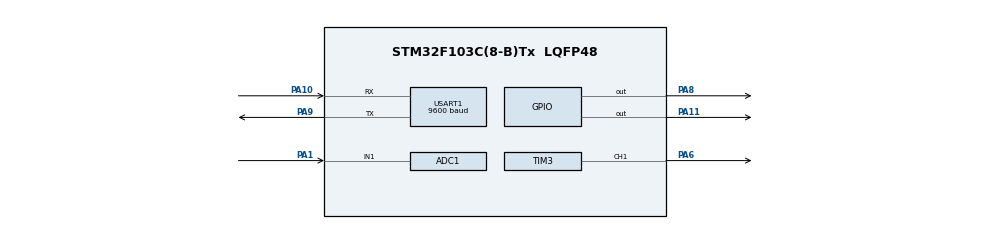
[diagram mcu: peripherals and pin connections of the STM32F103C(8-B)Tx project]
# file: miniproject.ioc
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ADC1.Channel-1\#ChannelRegularConversion=ADC_CHANNEL_1
ADC1.ContinuousConvMode=DISABLE
ADC1.NbrOfConversionFlag=1
ADC1.Rank-1\#ChannelRegularConversion=1
ADC1.SamplingTime-1\#ChannelRegularConversion=ADC_SAMPLETIME_239CYCLES_5
ADC1.master=1
Mcu.Family=STM32F1
Mcu.Name=STM32F103C(8-B)Tx
Mcu.Package=LQFP48
NVIC.ADC1_2_IRQn=true\:1\:0\:true\:false\:true\:true\:true\:true
NVIC.PriorityGroup=NVIC_PRIORITYGROUP_4
NVIC.TIM2_IRQn=true\:0\:0\:false\:false\:true\:true\:true\:true
NVIC.USART1_IRQn=true\:0\:0\:false\:false\:true\:true\:true\:true
PA1.Signal=ADCx_IN1
PA10.Mode=Asynchronous
PA10.Signal=USART1_RX
PA11.Signal=GPIO_Output
PA13.Mode=Serial_Wire
PA13.Signal=SYS_JTMS-SWDIO
PA14.Mode=Serial_Wire
PA14.Signal=SYS_JTCK-SWCLK
PA6.Signal=S_TIM3_CH1
PA8.Signal=GPIO_Output
PA9.Mode=Asynchronous
PA9.Signal=USART1_TX
PD0-OSC_IN.Mode=HSE-External-Oscillator
PD0-OSC_IN.Signal=RCC_OSC_IN
PD1-OSC_OUT.Mode=HSE-External-Oscillator
PD1-OSC_OUT.Signal=RCC_OSC_OUT
ProjectManager.HeapSize=0x200
ProjectManager.StackSize=0x400
ProjectManager.TargetToolchain=STM32CubeIDE
RCC.APB1Freq_Value=8000000
RCC.APB2Freq_Value=8000000
SH.ADCx_IN1.0=ADC1_IN1,IN1
SH.S_TIM3_CH1.0=TIM3_CH1,PWM Generation1 CH1
TIM2.Period=10000-1
TIM2.Prescaler=8-1
TIM3.Channel-PWM\ Generation1\ CH1=TIM_CHANNEL_1
TIM3.Period=10000-1
TIM3.Prescaler=8-1
TIM3.Pulse-PWM\ Generation1\ CH1=5000
USART1.BaudRate=9600
USART1.VirtualMode=VM_ASYNC
VP_TIM2_VS_ClockSourceINT.Mode=Internal
board=custom

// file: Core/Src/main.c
/* USER CODE BEGIN Header */
/**
  ******************************************************************************
  * @file           : main.c
  * @brief          : Main program body
  ******************************************************************************
  * @attention
  *
  * Copyright (c) 2025 STMicroelectronics.
  * All rights reserved.
  *
  * This software is licensed under terms that can be found in the LICENSE file
  * in the root directory of this software component.
  * If no LICENSE file comes with this software, it is provided AS-IS.
  *
  ******************************************************************************
  */
/* USER CODE END Header */
#include "main.h"

/* USER CODE BEGIN Includes */
#include "stdio.h"
#include "string.h"
#include "math.h"
/* USER CODE END Includes */

ADC_HandleTypeDef hadc1;

TIM_HandleTypeDef htim2;
TIM_HandleTypeDef htim3;

UART_HandleTypeDef huart1;

/* USER CODE BEGIN PV */
volatile int current_adc =0;
volatile int last_adc =0;
volatile int different_adc =0;
char adc_buffer[128];

uint8_t dir =0;
//uint16_t pul =0;
uint8_t ena =0 ;
volatile int32_t step_count =0;

/* USER CODE END PV */

void SystemClock_Config(void);
static void MX_GPIO_Init(void);
static void MX_ADC1_Init(void);
static void MX_USART1_UART_Init(void);
static void MX_TIM2_Init(void);
static void MX_TIM3_Init(void);

int main(void)
{

  /* MCU Configuration--------------------------------------------------------*/

  /* Reset of all peripherals, Initializes the Flash interface and the Systick. */
  HAL_Init();

  /* Configure the system clock */
  SystemClock_Config();

  /* Initialize all configured peripherals */
  MX_GPIO_Init();
  MX_ADC1_Init();
  MX_USART1_UART_Init();
  MX_TIM2_Init();
  MX_TIM3_Init();
  /* USER CODE BEGIN 2 */

  HAL_ADC_Start(&hadc1);
  if (HAL_ADC_PollForConversion(&hadc1, 100) == HAL_OK) {
      last_adc = HAL_ADC_GetValue(&hadc1);
  }
  HAL_ADC_Stop(&hadc1);

  HAL_ADC_Start_IT(&hadc1);

  /* USER CODE END 2 */

  /* Infinite loop */
  while (1)
  {

    /* USER CODE BEGIN 3 */

//	  if(step_count != 0){
//		  if(step_count > 0){
//			  HAL_GPIO_WritePin(GPIOA, GPIO_PIN_8, GPIO_PIN_SET);
//			  move_onestep();
//			  step_count--;
//		  }
//		  else{
//			  HAL_GPIO_WritePin(GPIOA, GPIO_PIN_8, GPIO_PIN_RESET);
//			  move_onestep();
//			  step_count++;
//		  }
//		  HAL_ADC_Start_IT(&hadc1);
//
//	  }

//	     sprintf(adc_buffer, "ADC Value: %d | Steps to go: %ld\r\n", current_adc, step_count);
//	     HAL_UART_Transmit(&huart1, (uint16_t*)adc_buffer, strlen(adc_buffer), 10000); // Dùng timeout ngắn
	     //HAL_Delay(100); // Delay để không spam UART

  }
  /* USER CODE END 3 */
}

void SystemClock_Config(void)
{
  RCC_OscInitTypeDef RCC_OscInitStruct = {0};
  RCC_ClkInitTypeDef RCC_ClkInitStruct = {0};
  RCC_PeriphCLKInitTypeDef PeriphClkInit = {0};

  /** Initializes the RCC Oscillators according to the specified parameters
  * in the RCC_OscInitTypeDef structure.
  */
  RCC_OscInitStruct.OscillatorType = RCC_OSCILLATORTYPE_HSI;
  RCC_OscInitStruct.HSIState = RCC_HSI_ON;
  RCC_OscInitStruct.HSICalibrationValue = RCC_HSICALIBRATION_DEFAULT;
  RCC_OscInitStruct.PLL.PLLState = RCC_PLL_NONE;
  if (HAL_RCC_OscConfig(&RCC_OscInitStruct) != HAL_OK)
  {
    Error_Handler();
  }

  /** Initializes the CPU, AHB and APB buses clocks
  */
  RCC_ClkInitStruct.ClockType = RCC_CLOCKTYPE_HCLK|RCC_CLOCKTYPE_SYSCLK
                              |RCC_CLOCKTYPE_PCLK1|RCC_CLOCKTYPE_PCLK2;
  RCC_ClkInitStruct.SYSCLKSource = RCC_SYSCLKSOURCE_HSI;
  RCC_ClkInitStruct.AHBCLKDivider = RCC_SYSCLK_DIV1;
  RCC_ClkInitStruct.APB1CLKDivider = RCC_HCLK_DIV1;
  RCC_ClkInitStruct.APB2CLKDivider = RCC_HCLK_DIV1;

  if (HAL_RCC_ClockConfig(&RCC_ClkInitStruct, FLASH_LATENCY_0) != HAL_OK)
  {
    Error_Handler();
  }
  PeriphClkInit.PeriphClockSelection = RCC_PERIPHCLK_ADC;
  PeriphClkInit.AdcClockSelection = RCC_ADCPCLK2_DIV2;
  if (HAL_RCCEx_PeriphCLKConfig(&PeriphClkInit) != HAL_OK)
  {
    Error_Handler();
  }
}

static void MX_ADC1_Init(void)
{

  ADC_ChannelConfTypeDef sConfig = {0};

  /** Common config
  */
  hadc1.Instance = ADC1;
  hadc1.Init.ScanConvMode = ADC_SCAN_DISABLE;
  hadc1.Init.ContinuousConvMode = DISABLE;
  hadc1.Init.DiscontinuousConvMode = DISABLE;
  hadc1.Init.ExternalTrigConv = ADC_SOFTWARE_START;
  hadc1.Init.DataAlign = ADC_DATAALIGN_RIGHT;
  hadc1.Init.NbrOfConversion = 1;
  if (HAL_ADC_Init(&hadc1) != HAL_OK)
  {
    Error_Handler();
  }

  /** Configure Regular Channel
  */
  sConfig.Channel = ADC_CHANNEL_1;
  sConfig.Rank = ADC_REGULAR_RANK_1;
  sConfig.SamplingTime = ADC_SAMPLETIME_239CYCLES_5;
  if (HAL_ADC_ConfigChannel(&hadc1, &sConfig) != HAL_OK)
  {
    Error_Handler();
  }

}

static void MX_TIM2_Init(void)
{

  TIM_ClockConfigTypeDef sClockSourceConfig = {0};
  TIM_MasterConfigTypeDef sMasterConfig = {0};

  htim2.Instance = TIM2;
  htim2.Init.Prescaler = 8-1;
  htim2.Init.CounterMode = TIM_COUNTERMODE_UP;
  htim2.Init.Period = 10000-1;
  htim2.Init.ClockDivision = TIM_CLOCKDIVISION_DIV1;
  htim2.Init.AutoReloadPreload = TIM_AUTORELOAD_PRELOAD_DISABLE;
  if (HAL_TIM_Base_Init(&htim2) != HAL_OK)
  {
    Error_Handler();
  }
  sClockSourceConfig.ClockSource = TIM_CLOCKSOURCE_INTERNAL;
  if (HAL_TIM_ConfigClockSource(&htim2, &sClockSourceConfig) != HAL_OK)
  {
    Error_Handler();
  }
  sMasterConfig.MasterOutputTrigger = TIM_TRGO_RESET;
  sMasterConfig.MasterSlaveMode = TIM_MASTERSLAVEMODE_DISABLE;
  if (HAL_TIMEx_MasterConfigSynchronization(&htim2, &sMasterConfig) != HAL_OK)
  {
    Error_Handler();
  }

}

static void MX_TIM3_Init(void)
{

  TIM_MasterConfigTypeDef sMasterConfig = {0};
  TIM_OC_InitTypeDef sConfigOC = {0};

  htim3.Instance = TIM3;
  htim3.Init.Prescaler = 8-1;
  htim3.Init.CounterMode = TIM_COUNTERMODE_UP;
  htim3.Init.Period = 10000-1;
  htim3.Init.ClockDivision = TIM_CLOCKDIVISION_DIV1;
  htim3.Init.AutoReloadPreload = TIM_AUTORELOAD_PRELOAD_DISABLE;
  if (HAL_TIM_PWM_Init(&htim3) != HAL_OK)
  {
    Error_Handler();
  }
  sMasterConfig.MasterOutputTrigger = TIM_TRGO_RESET;
  sMasterConfig.MasterSlaveMode = TIM_MASTERSLAVEMODE_DISABLE;
  if (HAL_TIMEx_MasterConfigSynchronization(&htim3, &sMasterConfig) != HAL_OK)
  {
    Error_Handler();
  }
  sConfigOC.OCMode = TIM_OCMODE_PWM1;
  sConfigOC.Pulse = 5000;
  sConfigOC.OCPolarity = TIM_OCPOLARITY_HIGH;
  sConfigOC.OCFastMode = TIM_OCFAST_DISABLE;
  if (HAL_TIM_PWM_ConfigChannel(&htim3, &sConfigOC, TIM_CHANNEL_1) != HAL_OK)
  {
    Error_Handler();
  }
  HAL_TIM_MspPostInit(&htim3);

}

static void MX_USART1_UART_Init(void)
{

  huart1.Instance = USART1;
  huart1.Init.BaudRate = 9600;
  huart1.Init.WordLength = UART_WORDLENGTH_8B;
  huart1.Init.StopBits = UART_STOPBITS_1;
  huart1.Init.Parity = UART_PARITY_NONE;
  huart1.Init.Mode = UART_MODE_TX_RX;
  huart1.Init.HwFlowCtl = UART_HWCONTROL_NONE;
  huart1.Init.OverSampling = UART_OVERSAMPLING_16;
  if (HAL_UART_Init(&huart1) != HAL_OK)
  {
    Error_Handler();
  }

}

static void MX_GPIO_Init(void)
{
  GPIO_InitTypeDef GPIO_InitStruct = {0};

  /* GPIO Ports Clock Enable */
  __HAL_RCC_GPIOD_CLK_ENABLE();
  __HAL_RCC_GPIOA_CLK_ENABLE();

  /*Configure GPIO pin Output Level */
  HAL_GPIO_WritePin(GPIOA, GPIO_PIN_8|GPIO_PIN_11, GPIO_PIN_RESET);

  /*Configure GPIO pins : PA8 PA11 */
  GPIO_InitStruct.Pin = GPIO_PIN_8|GPIO_PIN_11;
  GPIO_InitStruct.Mode = GPIO_MODE_OUTPUT_PP;
  GPIO_InitStruct.Pull = GPIO_NOPULL;
  GPIO_InitStruct.Speed = GPIO_SPEED_FREQ_LOW;
  HAL_GPIO_Init(GPIOA, &GPIO_InitStruct);

}

/* USER CODE BEGIN 4 */
//void delay_us(int us){
//	__HAL_TIM_SET_COUNTER(&htim2, 0);
//	    while (__HAL_TIM_GET_COUNTER(&htim2) < us);
//}
//
//void move_onestep(){
//		HAL_GPIO_WritePin(GPIOA, GPIO_PIN_11, GPIO_PIN_SET);
//		delay_us(500);
//		HAL_GPIO_WritePin(GPIOA, GPIO_PIN_11, GPIO_PIN_RESET);
//		delay_us(500);
//}

void HAL_TIM_PeriodElapsedCallback(TIM_HandleTypeDef *htim)
{
    if(htim->Instance == TIM2)
    {
    		  if(step_count != 0){
    			  if(step_count > 0){
    				  //HAL_GPIO_WritePin(GPIOA, GPIO_PIN_8, GPIO_PIN_SET);
    				  //HAL_GPIO_WritePin(GPIOA, GPIO_PIN_11, GPIO_PIN_RESET); //ena =1
    				  //HAL_TIM_PWM_Start(&htim3, TIM_CHANNEL_1);
    				  step_count--;

    			  }
    			  else{
    				  //HAL_GPIO_WritePin(GPIOA, GPIO_PIN_8, GPIO_PIN_RESET);
    				  //HAL_GPIO_WritePin(GPIOA, GPIO_PIN_11, GPIO_PIN_RESET); //ena =1
    				  //HAL_TIM_PWM_Start(&htim3, TIM_CHANNEL_1);

    				  step_count++;

    			  }

    		  }
    		  else if(step_count == 0) {
    			  HAL_TIM_PWM_Stop(&htim3, TIM_CHANNEL_1);

    			  HAL_TIM_Base_Stop_IT(&htim2);

    			  HAL_GPIO_WritePin(GPIOA, GPIO_PIN_11, GPIO_PIN_SET);

    			  HAL_ADC_Start_IT(&hadc1);
    		  }
    		   //ena=0

    }
}
void adc(){

}
void HAL_ADC_ConvCpltCallback(ADC_HandleTypeDef *hadc){
	if(hadc -> Instance == ADC1){
		current_adc = HAL_ADC_GetValue(&hadc1);
		int8_t temp = current_adc % 41;
		current_adc = current_adc - temp;
		different_adc = current_adc - last_adc;

		if(abs(different_adc) > 41){

			step_count += (int) (different_adc * 200/4095) ;
			last_adc = current_adc;
		}
		 sprintf(adc_buffer, "ADC Value: %d | Steps to go: %ld\r\n", current_adc, step_count);
		    				  	     HAL_UART_Transmit(&huart1, (uint16_t*)adc_buffer, strlen(adc_buffer), 1000);
		if(step_count !=0){
			if(step_count > 0)
				HAL_GPIO_WritePin(GPIOA, GPIO_PIN_8, GPIO_PIN_SET);
			else HAL_GPIO_WritePin(GPIOA, GPIO_PIN_8, GPIO_PIN_RESET);

			HAL_GPIO_WritePin(GPIOA, GPIO_PIN_11, GPIO_PIN_RESET);
			HAL_TIM_PWM_Start(&htim3, TIM_CHANNEL_1);
			HAL_TIM_Base_Start_IT(&htim2);
		}
		else
		 HAL_ADC_Start_IT(&hadc1);

//		HAL_TIM_PWM_Stop_IT(&htim2, TIM_CHANNEL_1);
//		adc_value= HAL_ADC_GetValue(&hadc1);
//		if(lastAdc < adc_value){
//			dir =0;
//			HAL_GPIO_WritePin(GPIOA, GPIO_PIN_8,GPIO_PIN_SET);
//		}
//		else {
//			dir =1;
//			HAL_GPIO_WritePin(GPIOA, GPIO_PIN_8, GPIO_PIN_RESET);
//		}
//		pul = abs((adc_value -lastAdc) / 20) ;
//		ena =1;

//		//HAL_Delay(200);
//		if( abs(adc_value-lastAdc) >20){
//			lastAdc = adc_value;
//		}
//		HAL_TIM_PWM_Start_IT(&htim2, TIM_CHANNEL_1);

		//HAL_ADC_Start_IT(&hadc1);
	}
}

/* USER CODE END 4 */

void Error_Handler(void)
{
  __disable_irq();
  while (1)
  {
  }
}
